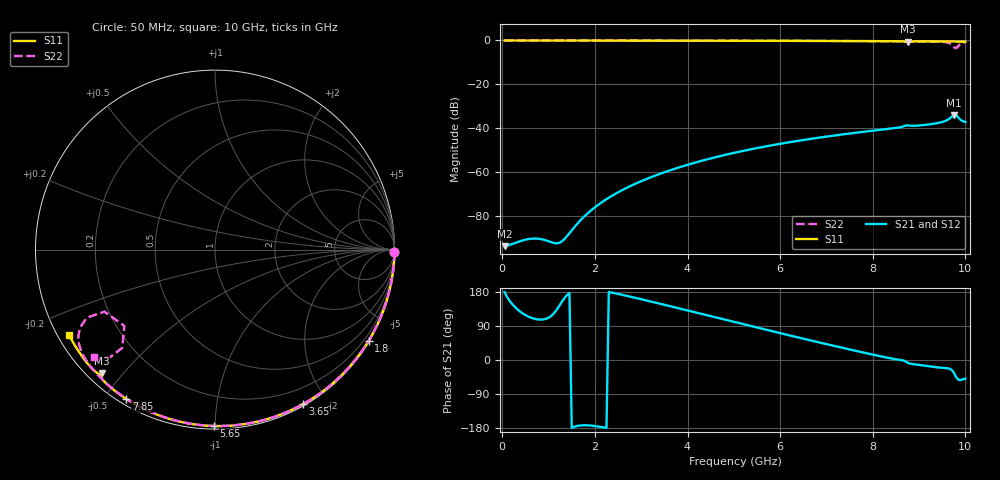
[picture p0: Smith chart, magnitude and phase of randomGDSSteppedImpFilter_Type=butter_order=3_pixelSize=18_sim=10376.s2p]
! freq	dB(S11)	phase(S11)	dB(S12)	phase(S12)
!  dB(S21)	phase(S21)	dB(S22)	phase(S22)
!S-par simulation data
#  GHz  S  DB  R 50
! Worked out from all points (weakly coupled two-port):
!   200 points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, 50 MHz to 10 GHz, reference 50 ohm
!   highest |S21| = -34.08 dB at 9.75 GHz (marker M1); lowest = -93.9 dB at 50 MHz (marker M2)
!   lowest |S11| = -0.6 dB at 8.75 GHz (marker M3), VSWR 29.20, Z = 2.04 - j22 ohm
!   |S11| at or under -10 dB: nowhere
!   |S22| runs from -3.6 to 0.0 dB; largest |S21 - S12| = 0
!   S11 on the Smith chart (normalised r, x): 50 MHz: open; 1.8 GHz: 0.03, -3.65; 3.65 GHz: 0.02, -1.71; 5.65 GHz: 0.02, -0.99; 7.85 GHz: 0.02, -0.57; 10 GHz: 0.03, -0.27
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0.05  -0.00 -0.9  -93.94 178.9  -93.94 178.9  -0.00 -0.8
0.85  -0.02 -14.6  -90.78 106.7  -90.78 106.7  -0.02 -14.3
1.75  -0.04 -29.8  -80.80 -172.2  -80.80 -172.2  -0.04 -29.2
1.8  -0.04 -30.6  -79.78 -172.2  -79.78 -172.2  -0.04 -30.0
2.1  -0.05 -35.6  -74.62 -176.0  -74.62 -176.0  -0.04 -34.9
2.45  -0.05 -41.4  -69.94 175.7  -69.94 175.7  -0.05 -40.5
3.4  -0.08 -56.6  -60.95 148.7  -60.95 148.7  -0.07 -55.4
3.65  -0.08 -60.5  -59.12 141.2  -59.12 141.2  -0.08 -59.3
5.05  -0.13 -81.7  -51.12 99.2  -51.12 99.2  -0.12 -80.0
5.65  -0.15 -90.3  -48.53 81.3  -48.53 81.3  -0.15 -88.6
6.7  -0.20 -105.1  -44.82 50.5  -44.82 50.5  -0.20 -103.1
7.85  -0.28 -120.8  -41.59 18.2  -41.59 18.2  -0.28 -118.6
8.35  -0.33 -127.6  -40.36 5.2  -40.36 5.2  -0.33 -125.3
8.75  -0.60 -132.4  -38.77 -7.0  -38.77 -7.0  -0.37 -130.9
9.35  -0.44 -140.5  -37.91 -18.9  -37.91 -18.9  -0.51 -140.7
9.6  -0.47 -144.0  -36.43 -21.6  -36.43 -21.6  -0.91 -147.7
9.7  -0.48 -145.4  -34.95 -25.7  -34.95 -25.7  -1.85 -152.0
9.75  -0.49 -146.1  -34.08 -33.0  -34.08 -33.0  -3.03 -150.7
9.8  -0.49 -146.8  -34.09 -44.8  -34.09 -44.8  -3.60 -139.9
9.85  -0.50 -147.5  -35.25 -52.3  -35.25 -52.3  -2.46 -133.4
9.9  -0.51 -148.3  -36.35 -52.8  -36.35 -52.8  -1.56 -134.3
10  -0.53 -149.7  -37.19 -49.1  -37.19 -49.1  -0.90 -138.5
